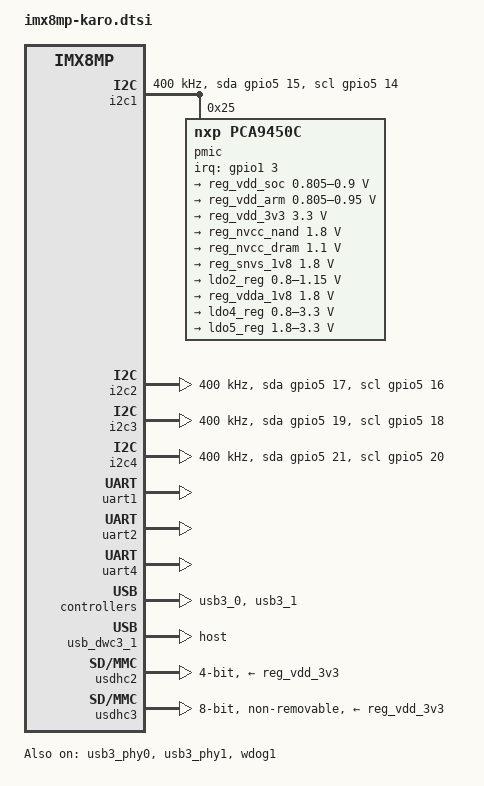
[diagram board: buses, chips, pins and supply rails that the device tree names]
// SPDX-License-Identifier: (GPL-2.0 OR MIT)
/*
 * Copyright (C) 2020 Lothar Waßmann <LW@KARO-electronics.de>
 *
 */

#include <arm64/freescale/imx8mp.dtsi>
#include "imx8mp.dtsi"

/ {
	chosen {
		stdout-path = &uart2;
	};
};

&A53_0 {
	cpu-supply = <&reg_vdd_arm>;
};

&A53_1 {
	cpu-supply = <&reg_vdd_arm>;
};

&A53_2 {
	cpu-supply = <&reg_vdd_arm>;
};

&A53_3 {
	cpu-supply = <&reg_vdd_arm>;
};

&i2c1 {
	pinctrl-names = "default", "gpio";
	pinctrl-0 = <&pinctrl_i2c1>;
	pinctrl-1 = <&pinctrl_i2c1_gpio>;
	clock-frequency = <400000>;
	scl-gpios = <&gpio5 14 (GPIO_ACTIVE_HIGH | GPIO_OPEN_DRAIN)>;
	sda-gpios = <&gpio5 15 (GPIO_ACTIVE_HIGH | GPIO_OPEN_DRAIN)>;
	status = "okay";

	pmic@25 {
		reg = <0x25>;
		compatible = "nxp,pca9450c";
		pinctrl-names = "default";
		pinctrl-0 = <&pinctrl_pmic>;
		interrupt-parent = <&gpio1>;
		interrupts = <3 IRQ_TYPE_EDGE_FALLING>;
		status = "okay";

		regulators {
			reg_vdd_soc: BUCK1 {
				regulator-name = "vdd-soc";
				regulator-min-microvolt = <805000>;
				regulator-max-microvolt = <900000>;
				regulator-boot-on;
				regulator-always-on;
				regulator-ramp-delay = <3125>;
			};

			reg_vdd_arm: BUCK2 {
				regulator-name = "vdd-core";
				regulator-min-microvolt = <805000>;
				regulator-max-microvolt = <950000>;
				regulator-boot-on;
				regulator-always-on;
				regulator-ramp-delay = <3125>;
				nxp,dvs-run-voltage = <950000>;
				nxp,dvs-standby-voltage = <850000>;
			};

			reg_vdd_3v3: BUCK4 {
				regulator-name = "3v3";
				regulator-min-microvolt = <3300000>;
				regulator-max-microvolt = <3300000>;
				regulator-boot-on;
				regulator-always-on;
			};

			reg_nvcc_nand: BUCK5 {
				regulator-name = "nvcc-nand";
				regulator-min-microvolt = <1800000>;
				regulator-max-microvolt = <1800000>;
				regulator-boot-on;
				regulator-always-on;
			};

			reg_nvcc_dram: BUCK6 {
				regulator-name = "nvcc-dram";
				regulator-min-microvolt = <1100000>;
				regulator-max-microvolt = <1100000>;
				regulator-boot-on;
				regulator-always-on;
			};

			reg_snvs_1v8: LDO1 {
				regulator-name = "snvs-1v8";
				regulator-min-microvolt = <1800000>;
				regulator-max-microvolt = <1800000>;
				regulator-boot-on;
				regulator-always-on;
			};

			ldo2_reg: LDO2 {
				regulator-name = "LDO2";
				regulator-min-microvolt = <800000>;
				regulator-max-microvolt = <1150000>;
				regulator-always-on;
			};

			reg_vdda_1v8: LDO3 {
				regulator-name = "vdda-1v8";
				regulator-min-microvolt = <1800000>;
				regulator-max-microvolt = <1800000>;
				regulator-boot-on;
				regulator-always-on;
			};

			ldo4_reg: LDO4 {
				regulator-name = "LDO4";
				regulator-min-microvolt = <800000>;
				regulator-max-microvolt = <3300000>;
			};

			ldo5_reg: LDO5 {
				regulator-name = "LDO5";
				regulator-min-microvolt = <1800000>;
				regulator-max-microvolt = <3300000>;
			};
		};
	};
};

&i2c2 {
	clock-frequency = <400000>;
	pinctrl-names = "default", "gpio";
	pinctrl-0 = <&pinctrl_i2c2>;
	pinctrl-1 = <&pinctrl_i2c2_gpio>;
	sda-gpios = <&gpio5 17 (GPIO_ACTIVE_HIGH | GPIO_OPEN_DRAIN)>;
	scl-gpios = <&gpio5 16 (GPIO_ACTIVE_HIGH | GPIO_OPEN_DRAIN)>;
	status = "okay";
};

&i2c3 {
	clock-frequency = <400000>;
	pinctrl-names = "default", "gpio";
	pinctrl-0 = <&pinctrl_i2c3>;
	pinctrl-1 = <&pinctrl_i2c3_gpio>;
	sda-gpios = <&gpio5 19 (GPIO_ACTIVE_HIGH | GPIO_OPEN_DRAIN)>;
	scl-gpios = <&gpio5 18 (GPIO_ACTIVE_HIGH | GPIO_OPEN_DRAIN)>;
};

&i2c4 {
	clock-frequency = <400000>;
	pinctrl-names = "default", "gpio";
	pinctrl-0 = <&pinctrl_i2c4>;
	pinctrl-1 = <&pinctrl_i2c4_gpio>;
	sda-gpios = <&gpio5 21 (GPIO_ACTIVE_HIGH | GPIO_OPEN_DRAIN)>;
	scl-gpios = <&gpio5 20 (GPIO_ACTIVE_HIGH | GPIO_OPEN_DRAIN)>;
};

&uart1 {
	pinctrl-names = "default";
	pinctrl-0 = <&pinctrl_uart1>, <&pinctrl_uart1_rtscts>;
	uart-has-rtscts;
	status = "okay";
};

&uart2 {
	pinctrl-names = "default";
	pinctrl-0 = <&pinctrl_uart2>;
	dmas = <&sdma1 24 4 0>, <&sdma1 25 4 0>;
	dma-names = "rx", "tx";
	status = "okay";
};

&uart4 {
	pinctrl-names = "default";
	pinctrl-0 = <&pinctrl_uart4>;
	status = "okay";
};

&usb3_0 {
	status = "okay";
};

&usb3_1 {
	status = "okay";
};

&usb3_phy0 {
	status = "okay";
};

&usb3_phy1 {
	status = "okay";
};

&usb_dwc3_1 {
	dr_mode = "host";
	status = "okay";
};

&usdhc2 {
	pinctrl-names = "default";
	pinctrl-0 = <&pinctrl_usdhc2 &pinctrl_usdhc2_cd>;
	bus-width = <4>;
	vmmc-supply = <&reg_vdd_3v3>;
	vqmmc-supply = <&reg_vdd_3v3>;
	voltage-ranges = <3300 3300>;
	no-1-8-v;
	fsl,wp-controller;
};

&usdhc3 { /* eMMC */
	assigned-clocks = <&clk IMX8MP_CLK_USDHC3>;
	assigned-clock-rates = <400000000>;
	pinctrl-names = "default", "state_100mhz", "state_200mhz";
	pinctrl-0 = <&pinctrl_usdhc3>;
	pinctrl-1 = <&pinctrl_usdhc3_100mhz>;
	pinctrl-2 = <&pinctrl_usdhc3_200mhz>;
	bus-width = <8>;
	no-sd;
	no-sdio;
	vmmc-supply = <&reg_vdd_3v3>;
	vqmmc-supply = <&reg_nvcc_nand>;
	non-removable;
	status = "okay";
};

&wdog1 {
	pinctrl-names = "default";
	pinctrl-0 = <&pinctrl_wdog>;
	fsl,ext-reset-output;
	status = "okay";
};

&iomuxc {
	pinctrl_i2c1: i2c1grp {
		fsl,pins = <
			MX8MP_IOMUXC_I2C1_SCL__I2C1_SCL			0x400001c2
			MX8MP_IOMUXC_I2C1_SDA__I2C1_SDA			0x400001c2
		>;
	};

	pinctrl_i2c1_gpio: i2c1-gpiogrp {
		fsl,pins = <
			MX8MP_IOMUXC_I2C1_SCL__GPIO5_IO14		0x400001c2
			MX8MP_IOMUXC_I2C1_SDA__GPIO5_IO15		0x400001c2
		>;
	};

	pinctrl_i2c2: i2c2grp {
		fsl,pins = <
			MX8MP_IOMUXC_I2C2_SCL__I2C2_SCL			0x400001c2
			MX8MP_IOMUXC_I2C2_SDA__I2C2_SDA			0x400001c2
		>;
	};

	pinctrl_i2c2_gpio: i2c2-gpiogrp {
		fsl,pins = <
			MX8MP_IOMUXC_I2C2_SCL__GPIO5_IO16		0x400001c2
			MX8MP_IOMUXC_I2C2_SDA__GPIO5_IO17		0x400001c2
		>;
	};

	pinctrl_i2c3: i2c3grp {
		fsl,pins = <
			MX8MP_IOMUXC_I2C3_SCL__I2C3_SCL			0x400001c2
			MX8MP_IOMUXC_I2C3_SDA__I2C3_SDA			0x400001c2
		>;
	};

	pinctrl_i2c3_gpio: i2c3-gpiogrp {
		fsl,pins = <
			MX8MP_IOMUXC_I2C3_SCL__GPIO5_IO18		0x400001c2
			MX8MP_IOMUXC_I2C3_SDA__GPIO5_IO19		0x400001c2
		>;
	};

	pinctrl_i2c4: i2c4grp {
		fsl,pins = <
			MX8MP_IOMUXC_I2C4_SCL__I2C4_SCL			0x400001c2
			MX8MP_IOMUXC_I2C4_SDA__I2C4_SDA			0x400001c2
		>;
	};

	pinctrl_i2c4_gpio: i2c4-gpiogrp {
		fsl,pins = <
			MX8MP_IOMUXC_I2C4_SCL__GPIO5_IO20		0x400001c2
			MX8MP_IOMUXC_I2C4_SDA__GPIO5_IO21		0x400001c2
		>;
	};

	pinctrl_pmic: pmicgrp {
		fsl,pins = <
			MX8MP_IOMUXC_GPIO1_IO03__GPIO1_IO03		0x1c0
		>;
	};

	pinctrl_uart1: uart1grp {
		fsl,pins = <
			MX8MP_IOMUXC_UART1_RXD__UART1_DCE_RX		0x140
			MX8MP_IOMUXC_UART1_TXD__UART1_DCE_TX		0x140
		>;
	};

	pinctrl_uart1_rtscts: uart1-rtsctsgrp {
		fsl,pins = <
			MX8MP_IOMUXC_UART3_TXD__UART1_DCE_RTS		0x140
			MX8MP_IOMUXC_UART3_RXD__UART1_DCE_CTS		0x140
		>;
	};

	pinctrl_uart2: uart2grp {
		fsl,pins = <
			MX8MP_IOMUXC_UART2_RXD__UART2_DCE_RX		0x140
			MX8MP_IOMUXC_UART2_TXD__UART2_DCE_TX		0x140
		>;
	};

	pinctrl_uart4: uart4grp {
		fsl,pins = <
			MX8MP_IOMUXC_UART4_RXD__UART4_DCE_RX		0x140
			MX8MP_IOMUXC_UART4_TXD__UART4_DCE_TX		0x140
		>;
	};

	pinctrl_usdhc2: usdhc2grp {
		fsl,pins = <
			MX8MP_IOMUXC_SD2_CLK__USDHC2_CLK		0x190
			MX8MP_IOMUXC_SD2_CMD__USDHC2_CMD		0x1d0
			MX8MP_IOMUXC_SD2_DATA0__USDHC2_DATA0		0x1d0
			MX8MP_IOMUXC_SD2_DATA1__USDHC2_DATA1		0x1d0
			MX8MP_IOMUXC_SD2_DATA2__USDHC2_DATA2		0x1d0
			MX8MP_IOMUXC_SD2_DATA3__USDHC2_DATA3		0x1d0
		>;
	};

	pinctrl_usdhc2_cd: usdhc2-cdgrp {
		fsl,pins = <
			MX8MP_IOMUXC_SD2_CD_B__GPIO2_IO12		0x1c0
		>;
	};

	pinctrl_usdhc3: usdhc3grp {
		fsl,pins = <
			MX8MP_IOMUXC_NAND_WE_B__USDHC3_CLK		0x190
			MX8MP_IOMUXC_NAND_WP_B__USDHC3_CMD		0x1d0
			MX8MP_IOMUXC_NAND_DATA04__USDHC3_DATA0		0x1d0
			MX8MP_IOMUXC_NAND_DATA05__USDHC3_DATA1		0x1d0
			MX8MP_IOMUXC_NAND_DATA06__USDHC3_DATA2		0x1d0
			MX8MP_IOMUXC_NAND_DATA07__USDHC3_DATA3		0x1d0
			MX8MP_IOMUXC_NAND_RE_B__USDHC3_DATA4		0x1d0
			MX8MP_IOMUXC_NAND_CE2_B__USDHC3_DATA5		0x1d0
			MX8MP_IOMUXC_NAND_CE3_B__USDHC3_DATA6		0x1d0
			MX8MP_IOMUXC_NAND_CLE__USDHC3_DATA7		0x1d0
			MX8MP_IOMUXC_NAND_CE1_B__USDHC3_STROBE		0x190
		>;
	};

	pinctrl_usdhc3_100mhz: usdhc3-100mhzgrp {
		fsl,pins = <
			MX8MP_IOMUXC_NAND_WE_B__USDHC3_CLK		0x194
			MX8MP_IOMUXC_NAND_WP_B__USDHC3_CMD		0x1d4
			MX8MP_IOMUXC_NAND_DATA04__USDHC3_DATA0		0x1d4
			MX8MP_IOMUXC_NAND_DATA05__USDHC3_DATA1		0x1d4
			MX8MP_IOMUXC_NAND_DATA06__USDHC3_DATA2		0x1d4
			MX8MP_IOMUXC_NAND_DATA07__USDHC3_DATA3		0x1d4
			MX8MP_IOMUXC_NAND_RE_B__USDHC3_DATA4		0x1d4
			MX8MP_IOMUXC_NAND_CE2_B__USDHC3_DATA5		0x1d4
			MX8MP_IOMUXC_NAND_CE3_B__USDHC3_DATA6		0x1d4
			MX8MP_IOMUXC_NAND_CLE__USDHC3_DATA7		0x1d4
			MX8MP_IOMUXC_NAND_CE1_B__USDHC3_STROBE		0x194
		>;
	};

	pinctrl_usdhc3_200mhz: usdhc3-200mhzgrp {
		fsl,pins = <
			MX8MP_IOMUXC_NAND_WE_B__USDHC3_CLK		0x196
			MX8MP_IOMUXC_NAND_WP_B__USDHC3_CMD		0x1d6
			MX8MP_IOMUXC_NAND_DATA04__USDHC3_DATA0		0x1d6
			MX8MP_IOMUXC_NAND_DATA05__USDHC3_DATA1		0x1d6
			MX8MP_IOMUXC_NAND_DATA06__USDHC3_DATA2		0x1d6
			MX8MP_IOMUXC_NAND_DATA07__USDHC3_DATA3		0x1d6
			MX8MP_IOMUXC_NAND_RE_B__USDHC3_DATA4		0x1d6
			MX8MP_IOMUXC_NAND_CE2_B__USDHC3_DATA5		0x1d6
			MX8MP_IOMUXC_NAND_CE3_B__USDHC3_DATA6		0x1d6
			MX8MP_IOMUXC_NAND_CLE__USDHC3_DATA7		0x1d6
			MX8MP_IOMUXC_NAND_CE1_B__USDHC3_STROBE		0x196
		>;
	};

	pinctrl_wdog: wdoggrp {
		fsl,pins = <
			MX8MP_IOMUXC_GPIO1_IO02__WDOG1_WDOG_B		0xc6
		>;
	};
};
